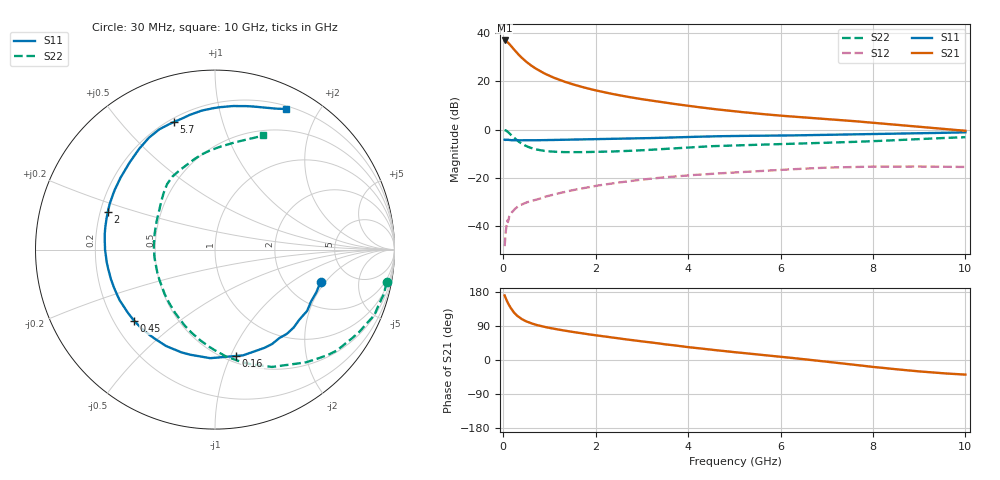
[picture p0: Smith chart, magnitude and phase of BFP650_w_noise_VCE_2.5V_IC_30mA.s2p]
! Infineon Technologies  Discrete & RF Semiconductors
! BFP650
! VCE =  2.5 V,  IC =  30 mA
! Common Emitter S-Parameters:  Jan 2016
# GHz  S  MA  R  50
!  f  S11  S21  S12  S22
! GHz  MAG  ANG  MAG  ANG  MAG  ANG  MAG  ANG
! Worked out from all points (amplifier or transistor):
!   229 points, 30 MHz to 10 GHz, reference 50 ohm
!   highest |S21| = 37.0 dB at 30 MHz (marker M1)
!   |S21| within 3 dB of that: start of sweep to 201.3 MHz
!   unconditionally stable (mu >= 1): 2.246 GHz to end of sweep
!   at 280 MHz: K = 0.32, MSG = 32.4 dB, |S12| = -32.5 dB
!   at 1.78 GHz: K = 0.96, MSG = 20.7 dB, |S12| = -24.2 dB
!   at 10 GHz: K = 1.04, MAG = 6.3 dB, |S12| = -15.5 dB
!   lowest NFmin = 0.77 dB at 450 MHz
!   S11 on the Smith chart (normalised r, x): 30 MHz: 3.07, -1.79; 160 MHz: 0.56, -1.05; 450 MHz: 0.28, -0.35; 2 GHz: 0.23, +0.16; 5.7 GHz: 0.22, +0.71; 10 GHz: 0.23, +1.60
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0.03  0.6151 -17.1  70.83 170.4  0.0038 89.4  0.9742 -10.8
0.05  0.6082 -28.3  69.44 164.0  0.0071 88.0  0.9628 -18.5
0.06  0.6166 -33.6  69.22 161.6  0.0084 85.4  0.9602 -22.3
0.1  0.6095 -53.9  64.43 150.8  0.012 64.8  0.895 -35.9
0.13  0.6084 -67.6  59.91 143.6  0.0159 63.7  0.8411 -45.8
0.16  0.6043 -78.7  55.66 137.9  0.0178 61.1  0.788 -53.5
0.2  0.6055 -92.5  50.3 130.2  0.0198 56.2  0.7267 -64.1
0.24  0.6017 -103.4  45.37 124.4  0.0219 54.2  0.6695 -72.6
0.3  0.6025 -116.8  39 117.0  0.0244 49.8  0.598 -84.2
0.36  0.5992 -126.9  33.88 111.4  0.0272 48.7  0.5408 -93.7
0.45  0.6004 -138.7  28.07 104.7  0.029 45.9  0.48 -106.0
0.6  0.6017 -152.2  21.54 97.0  0.0329 45.1  0.4163 -122.4
0.9  0.6041 -168.6  14.5 87.2  0.0401 45.0  0.3603 -145.5
1.28  0.6136 178.3  10.23 78.5  0.0494 46.0  0.3414 -164.8
1.7  0.6246 167.5  7.697 70.6  0.06 44.8  0.3399 179.8
2  0.633 160.8  6.519 65.2  0.0679 43.2  0.3434 171.1
3.4  0.6748 136.1  3.748 43.2  0.1001 32.2  0.3912 141.3
5.1  0.7391 113.8  2.342 19.6  0.1302 17.0  0.4728 119.1
5.7  0.7465 107.8  2.063 12.2  0.1406 11.9  0.4892 111.6
6.8  0.7715 97.5  1.711 -1.7  0.159 1.1  0.5264 100.2
8.4  0.8179 77.8  1.285 -23.2  0.1707 -16.0  0.5967 81.7
10  0.8772 63.3  0.945 -38.5  0.1675 -28.3  0.6943 67.1
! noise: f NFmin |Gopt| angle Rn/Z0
0.45  0.77  0.08  132  2.09
0.9  0.79  0.3  -172  0.08
1.9  0.94  0.34  -160  0.06
2.4  1.01  0.35  -148  0.07
3.5  1.23  0.38  -125  0.12
